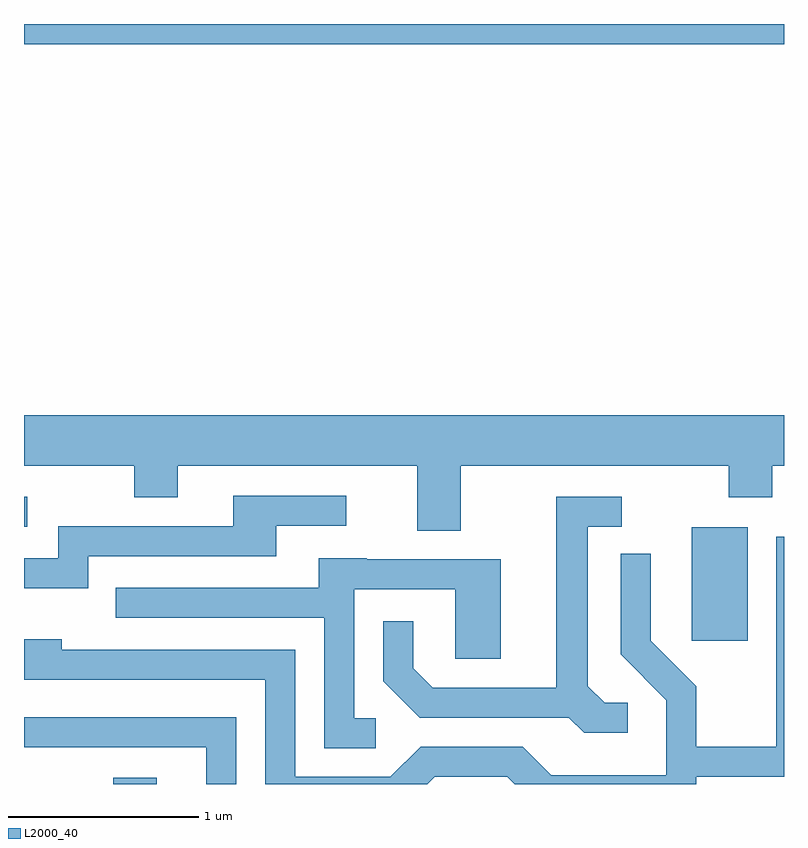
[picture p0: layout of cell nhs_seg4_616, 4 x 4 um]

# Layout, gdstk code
import gdstk
lib = gdstk.Library(unit=1e-6, precision=1e-09)
def R(c, l, rs):  # rectangles x0, y0, x1, y1
    for r in rs: c.add(gdstk.rectangle(r[:2], r[2:], *l))
def P(c, l, *ps):  # polygons
    for p in ps: c.add(gdstk.Polygon(p, *l))
L2000_40 = (2000, 40)

nhs_seg4_616 = lib.new_cell('nhs_seg4_616')
R(nhs_seg4_616, L2000_40, [(204.081,1261.982,204.309,1262.014), (207.126,1262.736,207.419,1263.334), (203.611,1263.336,203.628,1263.494), (203.611,1265.876,207.611,1265.982)])
P(nhs_seg4_616, L2000_40, [(205.909,1263.656),(207.321,1263.656),(207.321,1263.491),(207.549,1263.491),(207.549,1263.656),(207.611,1263.656),(207.611,1263.924),(203.611,1263.924),(203.611,1263.656),(204.191,1263.656),(204.191,1263.491),(204.419,1263.491),(204.419,1263.656),(205.681,1263.656),(205.681,1263.316),(205.909,1263.316)],
  [(203.949,1263.181),(204.939,1263.181),(204.939,1263.341),(205.308,1263.341),(205.308,1263.499),(204.711,1263.499),(204.711,1263.339),(203.791,1263.339),(203.791,1263.169),(203.611,1263.169),(203.611,1263.011),(203.949,1263.011)],
  [(206.788,1262.409),(206.667,1262.409),(206.579,1262.497),(206.579,1263.336),(206.758,1263.336),(206.758,1263.494),(206.411,1263.494),(206.411,1262.489),(205.762,1262.489),(205.659,1262.592),(205.659,1262.838),(205.501,1262.838),(205.501,1262.524),(205.694,1262.331),(206.479,1262.331),(206.559,1262.251),(206.788,1262.251)],
  [(205.772,1262.021),(206.154,1262.021),(206.193,1261.982),(207.149,1261.982),(207.149,1262.021),(207.611,1262.021),(207.611,1263.284),(207.571,1263.284),(207.571,1262.179),(207.149,1262.179),(207.149,1262.497),(206.909,1262.737),(206.909,1263.193),(206.751,1263.193),(206.751,1262.664),(206.991,1262.424),(206.991,1262.029),(206.387,1262.029),(206.237,1262.179),(205.699,1262.179),(205.539,1262.019),(205.039,1262.019),(205.039,1262.689),(203.809,1262.689),(203.809,1262.744),(203.611,1262.744),(203.611,1262.531),(204.881,1262.531),(204.881,1261.982),(205.733,1261.982)],
  [(205.463,1262.329),(205.349,1262.329),(205.349,1263.006),(205.881,1263.006),(205.881,1262.641),(206.119,1262.641),(206.119,1263.164),(205.415,1263.164),(205.415,1263.169),(205.161,1263.169),(205.161,1263.014),(204.093,1263.014),(204.093,1262.856),(205.191,1262.856),(205.191,1262.171),(205.463,1262.171)],
  [(204.729,1262.334),(203.611,1262.334),(203.611,1262.176),(204.571,1262.176),(204.571,1261.982),(204.729,1261.982)])

lib.write_gds('nhs_seg4_616.gds')
